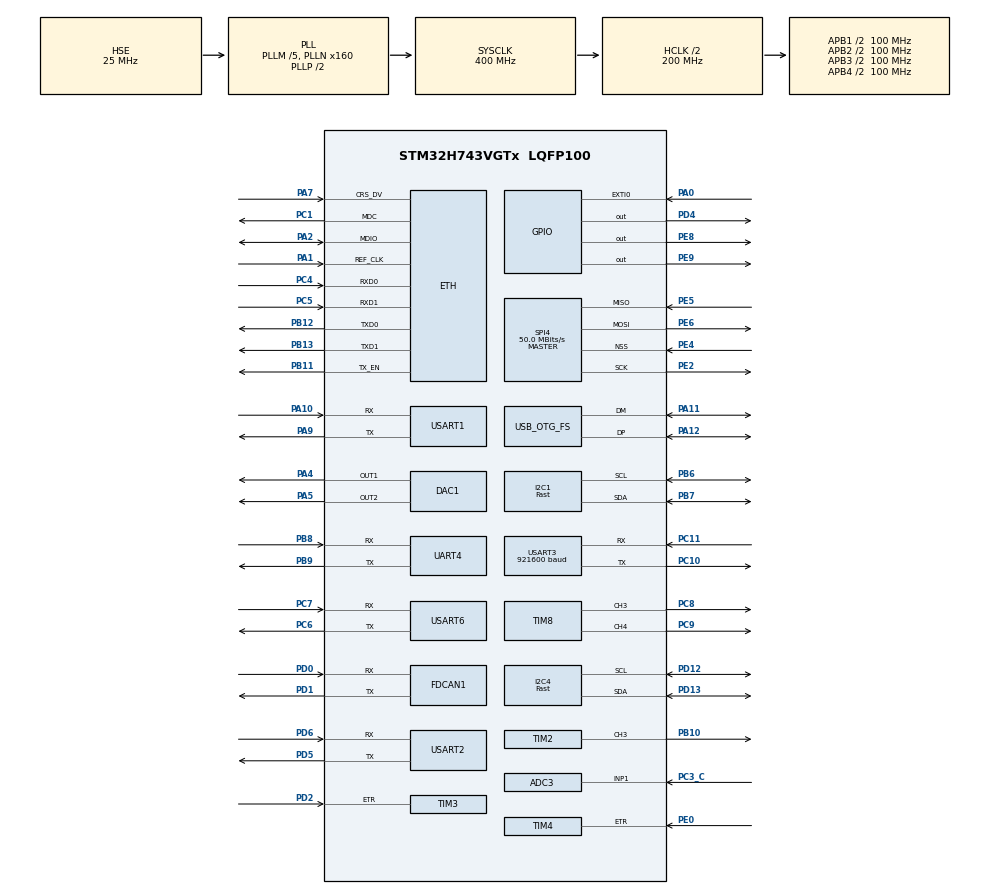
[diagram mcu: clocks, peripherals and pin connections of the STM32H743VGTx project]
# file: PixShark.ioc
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ADC3.Channel-0\#ChannelRegularConversion=ADC_CHANNEL_VREFINT
ADC3.Channel-1\#ChannelRegularConversion=ADC_CHANNEL_TEMPSENSOR
ADC3.Channel-2\#ChannelRegularConversion=ADC_CHANNEL_1
ADC3.ClockPrescalerADC3=ADC_CLOCK_ASYNC_DIV16
ADC3.ContinuousConvMode=ENABLE
ADC3.ConversionDataManagement=ADC_CONVERSIONDATA_DMA_CIRCULAR
ADC3.NbrOfConversion=3
ADC3.NbrOfConversionFlag=1
ADC3.OffsetNumber-0\#ChannelRegularConversion=ADC_OFFSET_NONE
ADC3.OffsetNumber-1\#ChannelRegularConversion=ADC_OFFSET_NONE
ADC3.OffsetNumber-2\#ChannelRegularConversion=ADC_OFFSET_NONE
ADC3.OffsetSignedSaturation-0\#ChannelRegularConversion=DISABLE
ADC3.OffsetSignedSaturation-1\#ChannelRegularConversion=DISABLE
ADC3.OffsetSignedSaturation-2\#ChannelRegularConversion=DISABLE
ADC3.Overrun=ADC_OVR_DATA_OVERWRITTEN
ADC3.Rank-0\#ChannelRegularConversion=1
ADC3.Rank-1\#ChannelRegularConversion=2
ADC3.Rank-2\#ChannelRegularConversion=3
ADC3.Resolution=ADC_RESOLUTION_16B
ADC3.SamplingTime-0\#ChannelRegularConversion=ADC_SAMPLETIME_810CYCLES_5
ADC3.SamplingTime-1\#ChannelRegularConversion=ADC_SAMPLETIME_810CYCLES_5
ADC3.SamplingTime-2\#ChannelRegularConversion=ADC_SAMPLETIME_810CYCLES_5
CORTEX_M7.AccessPermission-Cortex_Memory_Protection_Unit_Region0_Settings=MPU_REGION_FULL_ACCESS
CORTEX_M7.AccessPermission-Cortex_Memory_Protection_Unit_Region1_Settings=MPU_REGION_FULL_ACCESS
CORTEX_M7.BaseAddress-Cortex_Memory_Protection_Unit_Region0_Settings=0x30000000
CORTEX_M7.BaseAddress-Cortex_Memory_Protection_Unit_Region1_Settings=0x30004000
CORTEX_M7.CPU_DCache=Enabled
CORTEX_M7.CPU_ICache=Enabled
CORTEX_M7.Enable-Cortex_Memory_Protection_Unit_Region0_Settings=MPU_REGION_ENABLE
CORTEX_M7.Enable-Cortex_Memory_Protection_Unit_Region1_Settings=MPU_REGION_ENABLE
CORTEX_M7.IsBufferable-Cortex_Memory_Protection_Unit_Region0_Settings=MPU_ACCESS_BUFFERABLE
CORTEX_M7.IsCacheable-Cortex_Memory_Protection_Unit_Region1_Settings=MPU_ACCESS_CACHEABLE
CORTEX_M7.MPU_Control=MPU_PRIVILEGED_DEFAULT
CORTEX_M7.Size-Cortex_Memory_Protection_Unit_Region0_Settings=MPU_REGION_SIZE_1KB
CORTEX_M7.Size-Cortex_Memory_Protection_Unit_Region1_Settings=MPU_REGION_SIZE_16KB
DAC1.DAC_Channel-DAC_OUT1=DAC_CHANNEL_1
DAC1.DAC_Channel-DAC_OUT2=DAC_CHANNEL_2
Dma.ADC3.8.Direction=DMA_PERIPH_TO_MEMORY
Dma.ADC3.8.EventEnable=DISABLE
Dma.ADC3.8.FIFOMode=DMA_FIFOMODE_DISABLE
Dma.ADC3.8.Instance=DMA1_Stream1
Dma.ADC3.8.MemDataAlignment=DMA_MDATAALIGN_WORD
Dma.ADC3.8.MemInc=DMA_MINC_ENABLE
Dma.ADC3.8.Mode=DMA_CIRCULAR
Dma.ADC3.8.PeriphDataAlignment=DMA_PDATAALIGN_WORD
Dma.ADC3.8.PeriphInc=DMA_PINC_DISABLE
Dma.ADC3.8.Polarity=HAL_DMAMUX_REQ_GEN_RISING
Dma.ADC3.8.Priority=DMA_PRIORITY_LOW
Dma.ADC3.8.RequestNumber=1
Dma.ADC3.8.SignalID=NONE
Dma.ADC3.8.SyncEnable=DISABLE
Dma.ADC3.8.SyncPolarity=HAL_DMAMUX_SYNC_NO_EVENT
Dma.ADC3.8.SyncRequestNumber=1
Dma.ADC3.8.SyncSignalID=NONE
Dma.DAC1_CH1.10.Direction=DMA_MEMORY_TO_PERIPH
Dma.DAC1_CH1.10.EventEnable=DISABLE
Dma.DAC1_CH1.10.FIFOMode=DMA_FIFOMODE_DISABLE
Dma.DAC1_CH1.10.Instance=DMA1_Stream4
Dma.DAC1_CH1.10.MemDataAlignment=DMA_MDATAALIGN_BYTE
Dma.DAC1_CH1.10.MemInc=DMA_MINC_ENABLE
Dma.DAC1_CH1.10.Mode=DMA_NORMAL
Dma.DAC1_CH1.10.PeriphDataAlignment=DMA_PDATAALIGN_BYTE
Dma.DAC1_CH1.10.PeriphInc=DMA_PINC_DISABLE
Dma.DAC1_CH1.10.Polarity=HAL_DMAMUX_REQ_GEN_RISING
Dma.DAC1_CH1.10.Priority=DMA_PRIORITY_LOW
Dma.DAC1_CH1.10.RequestNumber=1
Dma.DAC1_CH1.10.SignalID=NONE
Dma.DAC1_CH1.10.SyncEnable=DISABLE
Dma.DAC1_CH1.10.SyncPolarity=HAL_DMAMUX_SYNC_NO_EVENT
Dma.DAC1_CH1.10.SyncRequestNumber=1
Dma.DAC1_CH1.10.SyncSignalID=NONE
Dma.DAC1_CH2.11.Direction=DMA_MEMORY_TO_PERIPH
Dma.DAC1_CH2.11.EventEnable=DISABLE
Dma.DAC1_CH2.11.FIFOMode=DMA_FIFOMODE_DISABLE
Dma.DAC1_CH2.11.Instance=DMA1_Stream5
Dma.DAC1_CH2.11.MemDataAlignment=DMA_MDATAALIGN_BYTE
Dma.DAC1_CH2.11.MemInc=DMA_MINC_ENABLE
Dma.DAC1_CH2.11.Mode=DMA_NORMAL
Dma.DAC1_CH2.11.PeriphDataAlignment=DMA_PDATAALIGN_BYTE
Dma.DAC1_CH2.11.PeriphInc=DMA_PINC_DISABLE
Dma.DAC1_CH2.11.Polarity=HAL_DMAMUX_REQ_GEN_RISING
Dma.DAC1_CH2.11.Priority=DMA_PRIORITY_LOW
Dma.DAC1_CH2.11.RequestNumber=1
Dma.DAC1_CH2.11.SignalID=NONE
Dma.DAC1_CH2.11.SyncEnable=DISABLE
Dma.DAC1_CH2.11.SyncPolarity=HAL_DMAMUX_SYNC_NO_EVENT
Dma.DAC1_CH2.11.SyncRequestNumber=1
Dma.DAC1_CH2.11.SyncSignalID=NONE
Dma.Request0=USART1_TX
Dma.Request1=USART2_TX
Dma.Request10=DAC1_CH1
Dma.Request11=DAC1_CH2
Dma.Request2=USART3_RX
Dma.Request3=USART3_TX
Dma.Request4=USART6_RX
Dma.Request5=USART6_TX
Dma.Request6=UART4_RX
Dma.Request7=UART4_TX
Dma.Request8=ADC3
Dma.Request9=USART1_RX
Dma.UART4_RX.6.Direction=DMA_PERIPH_TO_MEMORY
Dma.UART4_RX.6.EventEnable=DISABLE
Dma.UART4_RX.6.FIFOMode=DMA_FIFOMODE_DISABLE
Dma.UART4_RX.6.Instance=DMA1_Stream7
Dma.UART4_RX.6.MemDataAlignment=DMA_MDATAALIGN_BYTE
Dma.UART4_RX.6.MemInc=DMA_MINC_ENABLE
Dma.UART4_RX.6.Mode=DMA_NORMAL
Dma.UART4_RX.6.PeriphDataAlignment=DMA_PDATAALIGN_BYTE
Dma.UART4_RX.6.PeriphInc=DMA_PINC_DISABLE
Dma.UART4_RX.6.Polarity=HAL_DMAMUX_REQ_GEN_RISING
Dma.UART4_RX.6.Priority=DMA_PRIORITY_LOW
Dma.UART4_RX.6.RequestNumber=1
Dma.UART4_RX.6.SignalID=NONE
Dma.UART4_RX.6.SyncEnable=DISABLE
Dma.UART4_RX.6.SyncPolarity=HAL_DMAMUX_SYNC_NO_EVENT
Dma.UART4_RX.6.SyncRequestNumber=1
Dma.UART4_RX.6.SyncSignalID=NONE
Dma.UART4_TX.7.Direction=DMA_MEMORY_TO_PERIPH
Dma.UART4_TX.7.EventEnable=DISABLE
Dma.UART4_TX.7.FIFOMode=DMA_FIFOMODE_DISABLE
Dma.UART4_TX.7.Instance=DMA2_Stream0
Dma.UART4_TX.7.MemDataAlignment=DMA_MDATAALIGN_BYTE
Dma.UART4_TX.7.MemInc=DMA_MINC_ENABLE
Dma.UART4_TX.7.Mode=DMA_NORMAL
Dma.UART4_TX.7.PeriphDataAlignment=DMA_PDATAALIGN_BYTE
Dma.UART4_TX.7.PeriphInc=DMA_PINC_DISABLE
Dma.UART4_TX.7.Polarity=HAL_DMAMUX_REQ_GEN_RISING
Dma.UART4_TX.7.Priority=DMA_PRIORITY_LOW
Dma.UART4_TX.7.RequestNumber=1
Dma.UART4_TX.7.SignalID=NONE
Dma.UART4_TX.7.SyncEnable=DISABLE
Dma.UART4_TX.7.SyncPolarity=HAL_DMAMUX_SYNC_NO_EVENT
Dma.UART4_TX.7.SyncRequestNumber=1
Dma.UART4_TX.7.SyncSignalID=NONE
Dma.USART1_RX.9.Direction=DMA_PERIPH_TO_MEMORY
Dma.USART1_RX.9.EventEnable=DISABLE
Dma.USART1_RX.9.FIFOMode=DMA_FIFOMODE_DISABLE
Dma.USART1_RX.9.Instance=DMA1_Stream3
Dma.USART1_RX.9.MemDataAlignment=DMA_MDATAALIGN_BYTE
Dma.USART1_RX.9.MemInc=DMA_MINC_ENABLE
Dma.USART1_RX.9.Mode=DMA_NORMAL
Dma.USART1_RX.9.PeriphDataAlignment=DMA_PDATAALIGN_BYTE
Dma.USART1_RX.9.PeriphInc=DMA_PINC_DISABLE
Dma.USART1_RX.9.Polarity=HAL_DMAMUX_REQ_GEN_RISING
Dma.USART1_RX.9.Priority=DMA_PRIORITY_LOW
Dma.USART1_RX.9.RequestNumber=1
Dma.USART1_RX.9.SignalID=NONE
Dma.USART1_RX.9.SyncEnable=DISABLE
Dma.USART1_RX.9.SyncPolarity=HAL_DMAMUX_SYNC_NO_EVENT
Dma.USART1_RX.9.SyncRequestNumber=1
Dma.USART1_RX.9.SyncSignalID=NONE
Dma.USART1_TX.0.Direction=DMA_MEMORY_TO_PERIPH
Dma.USART1_TX.0.EventEnable=DISABLE
Dma.USART1_TX.0.FIFOMode=DMA_FIFOMODE_DISABLE
Dma.USART1_TX.0.Instance=DMA2_Stream7
Dma.USART1_TX.0.MemDataAlignment=DMA_MDATAALIGN_BYTE
Dma.USART1_TX.0.MemInc=DMA_MINC_ENABLE
Dma.USART1_TX.0.Mode=DMA_NORMAL
Dma.USART1_TX.0.PeriphDataAlignment=DMA_PDATAALIGN_BYTE
Dma.USART1_TX.0.PeriphInc=DMA_PINC_DISABLE
Dma.USART1_TX.0.Polarity=HAL_DMAMUX_REQ_GEN_RISING
Dma.USART1_TX.0.Priority=DMA_PRIORITY_LOW
Dma.USART1_TX.0.RequestNumber=1
Dma.USART1_TX.0.SignalID=NONE
Dma.USART1_TX.0.SyncEnable=DISABLE
Dma.USART1_TX.0.SyncPolarity=HAL_DMAMUX_SYNC_NO_EVENT
Dma.USART1_TX.0.SyncRequestNumber=1
Dma.USART1_TX.0.SyncSignalID=NONE
Dma.USART2_TX.1.Direction=DMA_MEMORY_TO_PERIPH
Dma.USART2_TX.1.EventEnable=DISABLE
Dma.USART2_TX.1.FIFOMode=DMA_FIFOMODE_DISABLE
Dma.USART2_TX.1.Instance=DMA1_Stream6
Dma.USART2_TX.1.MemDataAlignment=DMA_MDATAALIGN_BYTE
Dma.USART2_TX.1.MemInc=DMA_MINC_ENABLE
Dma.USART2_TX.1.Mode=DMA_NORMAL
Dma.USART2_TX.1.PeriphDataAlignment=DMA_PDATAALIGN_BYTE
Dma.USART2_TX.1.PeriphInc=DMA_PINC_DISABLE
Dma.USART2_TX.1.Polarity=HAL_DMAMUX_REQ_GEN_RISING
Dma.USART2_TX.1.Priority=DMA_PRIORITY_LOW
Dma.USART2_TX.1.RequestNumber=1
Dma.USART2_TX.1.SignalID=NONE
Dma.USART2_TX.1.SyncEnable=DISABLE
Dma.USART2_TX.1.SyncPolarity=HAL_DMAMUX_SYNC_NO_EVENT
Dma.USART2_TX.1.SyncRequestNumber=1
Dma.USART2_TX.1.SyncSignalID=NONE
Dma.USART3_RX.2.Direction=DMA_PERIPH_TO_MEMORY
Dma.USART3_RX.2.EventEnable=DISABLE
Dma.USART3_RX.2.FIFOMode=DMA_FIFOMODE_DISABLE
Dma.USART3_RX.2.Instance=DMA1_Stream2
Dma.USART3_RX.2.MemDataAlignment=DMA_MDATAALIGN_BYTE
Dma.USART3_RX.2.MemInc=DMA_MINC_ENABLE
Dma.USART3_RX.2.Mode=DMA_NORMAL
Dma.USART3_RX.2.PeriphDataAlignment=DMA_PDATAALIGN_BYTE
Dma.USART3_RX.2.PeriphInc=DMA_PINC_DISABLE
Dma.USART3_RX.2.Polarity=HAL_DMAMUX_REQ_GEN_RISING
Dma.USART3_RX.2.Priority=DMA_PRIORITY_LOW
Dma.USART3_RX.2.RequestNumber=1
Dma.USART3_RX.2.SignalID=NONE
Dma.USART3_RX.2.SyncEnable=DISABLE
Dma.USART3_RX.2.SyncPolarity=HAL_DMAMUX_SYNC_NO_EVENT
Dma.USART3_RX.2.SyncRequestNumber=1
Dma.USART3_RX.2.SyncSignalID=NONE
Dma.USART3_TX.3.Direction=DMA_MEMORY_TO_PERIPH
Dma.USART3_TX.3.EventEnable=DISABLE
Dma.USART3_TX.3.FIFOMode=DMA_FIFOMODE_DISABLE
Dma.USART3_TX.3.Instance=DMA1_Stream0
Dma.USART3_TX.3.MemDataAlignment=DMA_MDATAALIGN_BYTE
Dma.USART3_TX.3.MemInc=DMA_MINC_ENABLE
Dma.USART3_TX.3.Mode=DMA_NORMAL
Dma.USART3_TX.3.PeriphDataAlignment=DMA_PDATAALIGN_BYTE
Dma.USART3_TX.3.PeriphInc=DMA_PINC_DISABLE
Dma.USART3_TX.3.Polarity=HAL_DMAMUX_REQ_GEN_RISING
Dma.USART3_TX.3.Priority=DMA_PRIORITY_LOW
Dma.USART3_TX.3.RequestNumber=1
Dma.USART3_TX.3.SignalID=NONE
Dma.USART3_TX.3.SyncEnable=DISABLE
Dma.USART3_TX.3.SyncPolarity=HAL_DMAMUX_SYNC_NO_EVENT
Dma.USART3_TX.3.SyncRequestNumber=1
Dma.USART3_TX.3.SyncSignalID=NONE
Dma.USART6_RX.4.Direction=DMA_PERIPH_TO_MEMORY
Dma.USART6_RX.4.EventEnable=DISABLE
Dma.USART6_RX.4.FIFOMode=DMA_FIFOMODE_DISABLE
Dma.USART6_RX.4.Instance=DMA2_Stream1
Dma.USART6_RX.4.MemDataAlignment=DMA_MDATAALIGN_BYTE
Dma.USART6_RX.4.MemInc=DMA_MINC_ENABLE
Dma.USART6_RX.4.Mode=DMA_NORMAL
Dma.USART6_RX.4.PeriphDataAlignment=DMA_PDATAALIGN_BYTE
Dma.USART6_RX.4.PeriphInc=DMA_PINC_DISABLE
Dma.USART6_RX.4.Polarity=HAL_DMAMUX_REQ_GEN_RISING
Dma.USART6_RX.4.Priority=DMA_PRIORITY_LOW
Dma.USART6_RX.4.RequestNumber=1
Dma.USART6_RX.4.SignalID=NONE
Dma.USART6_RX.4.SyncEnable=DISABLE
Dma.USART6_RX.4.SyncPolarity=HAL_DMAMUX_SYNC_NO_EVENT
Dma.USART6_RX.4.SyncRequestNumber=1
Dma.USART6_RX.4.SyncSignalID=NONE
Dma.USART6_TX.5.Direction=DMA_MEMORY_TO_PERIPH
Dma.USART6_TX.5.EventEnable=DISABLE
Dma.USART6_TX.5.FIFOMode=DMA_FIFOMODE_DISABLE
Dma.USART6_TX.5.Instance=DMA2_Stream6
Dma.USART6_TX.5.MemDataAlignment=DMA_MDATAALIGN_BYTE
Dma.USART6_TX.5.MemInc=DMA_MINC_ENABLE
Dma.USART6_TX.5.Mode=DMA_NORMAL
Dma.USART6_TX.5.PeriphDataAlignment=DMA_PDATAALIGN_BYTE
Dma.USART6_TX.5.PeriphInc=DMA_PINC_DISABLE
Dma.USART6_TX.5.Polarity=HAL_DMAMUX_REQ_GEN_RISING
Dma.USART6_TX.5.Priority=DMA_PRIORITY_LOW
Dma.USART6_TX.5.RequestNumber=1
Dma.USART6_TX.5.SignalID=NONE
Dma.USART6_TX.5.SyncEnable=DISABLE
Dma.USART6_TX.5.SyncPolarity=HAL_DMAMUX_SYNC_NO_EVENT
Dma.USART6_TX.5.SyncRequestNumber=1
Dma.USART6_TX.5.SyncSignalID=NONE
ETH.MediaInterface=HAL_ETH_RMII_MODE
FDCAN1.CalculateBaudRateNominal=1000000
FDCAN1.CalculateTimeBitNominal=1000
FDCAN1.CalculateTimeQuantumNominal=25.0
FDCAN1.NominalPrescaler=2
FDCAN1.NominalTimeSeg1=31
FDCAN1.NominalTimeSeg2=8
FDCAN1.RxFifo0ElmtsNbr=32
FDCAN1.TxFifoQueueElmtsNbr=32
FREERTOS.INCLUDE_xQueueGetMutexHolder=1
FREERTOS.INCLUDE_xSemaphoreGetMutexHolder=1
FREERTOS.Tasks01=defaultTask,24,4096,StartDefaultTask,Default,NULL,Dynamic,NULL,NULL
FREERTOS.Timers01=watchdog_timer,feeddog_callback,osTimerPeriodic,Default,NULL,Dynamic,NULL
FREERTOS.configENABLE_FPU=1
FREERTOS.configTOTAL_HEAP_SIZE=65536
FREERTOS.configUSE_NEWLIB_REENTRANT=1
FREERTOS.configUSE_TICKLESS_IDLE=1
I2C1.I2C_Speed_Mode=I2C_Fast
I2C1.Timing=0x009034B6
I2C4.I2C_Speed_Mode=I2C_Fast
I2C4.Timing=0x009034B6
IWDG1.Prescaler=IWDG_PRESCALER_64
IWDG1.Reload=2000
LWIP.BSP.number=1
LWIP.GATEWAY_ADDRESS=192.168.001.001
LWIP.IP_ADDRESS=192.168.001.030
LWIP.LWIP_DHCP=0
LWIP.LWIP_SO_RCVTIMEO=1
LWIP.LWIP_UDP=1
LWIP.MEMP_NUM_SYS_TIMEOUT=13
LWIP.MEMP_NUM_TCP_SEG=32
LWIP.NETMASK_ADDRESS=255.255.255.000
LWIP.PBUF_POOL_BUFSIZE=4096
LWIP.TCP_SND_BUF=4096
LWIP.Version=v2.1.2_Cube
LWIP0.BSP.STBoard=false
LWIP0.BSP.api=BSP_COMPONENT_DRIVER
LWIP0.BSP.component=LAN8742
LWIP0.BSP.instance=LAN8742
LWIP0.BSP.name=Driver_PHY
LWIP0.BSP.semaphore=S_LAN8742
LWIP0.BSP.solution=LAN8742
Mcu.Family=STM32H7
Mcu.Name=STM32H743VGTx
Mcu.Package=LQFP100
NVIC.DMA1_Stream0_IRQn=true\:5\:0\:false\:false\:true\:true\:false\:true\:true
NVIC.DMA1_Stream1_IRQn=true\:5\:0\:false\:false\:true\:true\:false\:true\:true
NVIC.DMA1_Stream2_IRQn=true\:5\:0\:false\:false\:true\:true\:false\:true\:true
NVIC.DMA1_Stream3_IRQn=true\:5\:0\:false\:false\:true\:true\:false\:true\:true
NVIC.DMA1_Stream4_IRQn=true\:5\:0\:false\:false\:true\:true\:false\:true\:true
NVIC.DMA1_Stream5_IRQn=true\:5\:0\:false\:false\:true\:true\:false\:true\:true
NVIC.DMA1_Stream6_IRQn=true\:5\:0\:false\:false\:true\:true\:false\:true\:true
NVIC.DMA1_Stream7_IRQn=true\:5\:0\:false\:false\:true\:true\:false\:true\:true
NVIC.DMA2_Stream0_IRQn=true\:5\:0\:false\:false\:true\:true\:false\:true\:true
NVIC.DMA2_Stream1_IRQn=true\:5\:0\:false\:false\:true\:true\:false\:true\:true
NVIC.DMA2_Stream6_IRQn=true\:5\:0\:false\:false\:true\:true\:false\:true\:true
NVIC.DMA2_Stream7_IRQn=true\:5\:0\:false\:false\:true\:true\:false\:true\:true
NVIC.ETH_IRQn=true\:5\:0\:false\:false\:true\:true\:true\:true\:true
NVIC.FDCAN1_IT0_IRQn=true\:5\:0\:false\:false\:true\:true\:true\:true\:true
NVIC.OTG_FS_IRQn=true\:5\:0\:false\:false\:true\:true\:false\:true\:true
NVIC.PriorityGroup=NVIC_PRIORITYGROUP_4
NVIC.TIM1_UP_IRQn=true\:5\:0\:true\:false\:true\:false\:false\:true\:true
NVIC.TimeBase=TIM1_UP_IRQn
NVIC.TimeBaseIP=TIM1
NVIC.UART4_IRQn=true\:5\:0\:false\:false\:true\:true\:true\:true\:true
NVIC.USART1_IRQn=true\:5\:0\:false\:false\:true\:true\:true\:true\:true
NVIC.USART3_IRQn=true\:5\:0\:false\:false\:true\:true\:true\:true\:true
NVIC.USART6_IRQn=true\:5\:0\:false\:false\:true\:true\:true\:true\:true
PA0.Signal=GPXTI0
PA1.GPIO_Speed=GPIO_SPEED_FREQ_VERY_HIGH
PA1.Mode=RMII
PA1.Signal=ETH_REF_CLK
PA10.Mode=Asynchronous
PA10.Signal=USART1_RX
PA11.Mode=Device_Only
PA11.Signal=USB_OTG_FS_DM
PA12.Mode=Device_Only
PA12.Signal=USB_OTG_FS_DP
PA13\ (JTMS/SWDIO).Mode=Serial_Wire
PA13\ (JTMS/SWDIO).Signal=DEBUG_JTMS-SWDIO
PA14\ (JTCK/SWCLK).Mode=Serial_Wire
PA14\ (JTCK/SWCLK).Signal=DEBUG_JTCK-SWCLK
PA2.GPIO_Speed=GPIO_SPEED_FREQ_VERY_HIGH
PA2.Mode=RMII
PA2.Signal=ETH_MDIO
PA4.Signal=COMP_DAC11_group
PA5.Signal=COMP_DAC12_group
PA7.GPIO_Speed=GPIO_SPEED_FREQ_VERY_HIGH
PA7.Mode=RMII
PA7.Signal=ETH_CRS_DV
PA9.Mode=Asynchronous
PA9.Signal=USART1_TX
PB10.Signal=S_TIM2_CH3
PB11.GPIO_Speed=GPIO_SPEED_FREQ_VERY_HIGH
PB11.Mode=RMII
PB11.Signal=ETH_TX_EN
PB12.GPIO_Speed=GPIO_SPEED_FREQ_VERY_HIGH
PB12.Mode=RMII
PB12.Signal=ETH_TXD0
PB13.GPIO_Speed=GPIO_SPEED_FREQ_VERY_HIGH
PB13.Mode=RMII
PB13.Signal=ETH_TXD1
PB6.Mode=I2C
PB6.Signal=I2C1_SCL
PB7.Mode=I2C
PB7.Signal=I2C1_SDA
PB8.Mode=Asynchronous
PB8.Signal=UART4_RX
PB9.Mode=Asynchronous
PB9.Signal=UART4_TX
PC1.GPIO_Speed=GPIO_SPEED_FREQ_VERY_HIGH
PC1.Mode=RMII
PC1.Signal=ETH_MDC
PC10.Mode=Asynchronous
PC10.Signal=USART3_TX
PC11.Mode=Asynchronous
PC11.Signal=USART3_RX
PC3_C.Mode=IN1-Single-Ended
PC3_C.Signal=ADC3_INP1
PC4.GPIO_Speed=GPIO_SPEED_FREQ_VERY_HIGH
PC4.Mode=RMII
PC4.Signal=ETH_RXD0
PC5.GPIO_Speed=GPIO_SPEED_FREQ_VERY_HIGH
PC5.Mode=RMII
PC5.Signal=ETH_RXD1
PC6.Mode=Asynchronous
PC6.Signal=USART6_TX
PC7.Mode=Asynchronous
PC7.Signal=USART6_RX
PC8.Signal=S_TIM8_CH3
PC9.Signal=S_TIM8_CH4
PD0.Mode=FDCAN_Activate
PD0.Signal=FDCAN1_RX
PD1.Mode=FDCAN_Activate
PD1.Signal=FDCAN1_TX
PD12.Mode=I2C
PD12.Signal=I2C4_SCL
PD13.Mode=I2C
PD13.Signal=I2C4_SDA
PD2.Signal=S_TIM3_ETR
PD4.Signal=GPIO_Output
PD5.Mode=Asynchronous
PD5.Signal=USART2_TX
PD6.Mode=Asynchronous
PD6.Signal=USART2_RX
PE0.Signal=S_TIM4_ETR
PE2.Mode=Full_Duplex_Master
PE2.Signal=SPI4_SCK
PE4.Mode=NSS_Signal_Hard_Input
PE4.Signal=SPI4_NSS
PE5.Mode=Full_Duplex_Master
PE5.Signal=SPI4_MISO
PE6.Mode=Full_Duplex_Master
PE6.Signal=SPI4_MOSI
PE8.Signal=GPIO_Output
PE9.Signal=GPIO_Output
PH0-OSC_IN\ (PH0).Mode=HSE-External-Oscillator
PH0-OSC_IN\ (PH0).Signal=RCC_OSC_IN
PH1-OSC_OUT\ (PH1).Mode=HSE-External-Oscillator
PH1-OSC_OUT\ (PH1).Signal=RCC_OSC_OUT
ProjectManager.HeapSize=0x1000
ProjectManager.StackSize=0x2000
ProjectManager.TargetToolchain=STM32CubeIDE
RCC.ADCFreq_Value=72000000
RCC.APB1Freq_Value=100000000
RCC.APB2Freq_Value=100000000
RCC.APB3Freq_Value=100000000
RCC.APB4Freq_Value=100000000
RCC.CortexFreq_Value=400000000
RCC.D1PPRE=RCC_APB3_DIV2
RCC.D2PPRE1=RCC_APB1_DIV2
RCC.D2PPRE2=RCC_APB2_DIV2
RCC.D3PPRE=RCC_APB4_DIV2
RCC.DIVM1=5
RCC.DIVM2=25
RCC.DIVM3=25
RCC.DIVN1=160
RCC.DIVN2=504
RCC.DIVN3=336
RCC.DIVP2=7
RCC.DIVQ1=10
RCC.DIVQ2=7
RCC.DIVQ3=7
RCC.EnbaleCSS=false
RCC.HCLKFreq_Value=200000000
RCC.HPRE=RCC_HCLK_DIV2
RCC.PLL2FRACN=0
RCC.PLL3FRACN=0
RCC.PLLFRACN=0
RCC.PLLSourceVirtual=RCC_PLLSOURCE_HSE
RCC.PWR_Regulator_Voltage_Scale=PWR_REGULATOR_VOLTAGE_SCALE0
RCC.ProductRev=revV
RCC.SYSCLKFreq_VALUE=400000000
RCC.SYSCLKSource=RCC_SYSCLKSOURCE_PLLCLK
RCC.Tim1Mul=1
RCC.USBCLockSelection=RCC_USBCLKSOURCE_PLL3
RCC.USBFreq_Value=48000000
SH.COMP_DAC11_group.0=DAC1_OUT1,DAC_OUT1
SH.COMP_DAC12_group.0=DAC1_OUT2,DAC_OUT2
SH.S_TIM2_CH3.0=TIM2_CH3,PWM Generation3 CH3
SH.S_TIM3_ETR.0=TIM3_ETR,ClockSourceETR_Mode2
SH.S_TIM4_ETR.0=TIM4_ETR,ClockSourceETR_Mode2
SH.S_TIM8_CH3.0=TIM8_CH3,PWM Generation3 CH3
SH.S_TIM8_CH4.0=TIM8_CH4,PWM Generation4 CH4
SPI4.CalculateBaudRate=50.0 MBits/s
SPI4.Direction=SPI_DIRECTION_2LINES
SPI4.Mode=SPI_MODE_MASTER
SPI4.VirtualNSS=VM_NSSHARD
SPI4.VirtualType=VM_MASTER
TIM2.Channel-PWM\ Generation3\ CH3=TIM_CHANNEL_3
TIM2.Period=65535
TIM8.Channel-PWM\ Generation3\ CH3=TIM_CHANNEL_3
TIM8.Channel-PWM\ Generation4\ CH4=TIM_CHANNEL_4
USART1.VirtualMode-Asynchronous=VM_ASYNC
USART2.VirtualMode-Asynchronous=VM_ASYNC
USART3.BaudRate=921600
USART3.SwapParam=ADVFEATURE_SWAP_DISABLE
USART3.VirtualMode-Asynchronous=VM_ASYNC
USART6.VirtualMode=VM_ASYNC
USB_DEVICE.CLASS_NAME_FS=CDC
USB_DEVICE.VirtualMode-CDC_FS=Cdc
USB_DEVICE.VirtualModeFS=Cdc_FS
USB_OTG_FS.VirtualMode=Device_Only
VP_ADC3_TempSens_Input.Mode=IN-TempSens
VP_ADC3_Vref_Input.Mode=IN-Vrefint
VP_FREERTOS_VS_CMSIS_V2.Mode=CMSIS_V2
VP_IWDG1_VS_IWDG.Mode=IWDG_Activate
VP_LWIP_VS_Enabled.Mode=Enabled
VP_SYS_VS_tim1.Mode=TIM1
VP_TIM2_VS_ClockSourceINT.Mode=Internal
VP_TIM8_VS_ClockSourceINT.Mode=Internal
VP_USB_DEVICE_VS_USB_DEVICE_CDC_FS.Mode=CDC_FS
board=custom

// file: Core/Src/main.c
/* USER CODE BEGIN Header */
/**
  ******************************************************************************
  * @file           : main.c
  * @brief          : Main program body
  ******************************************************************************
  * @attention
  *
  * Copyright (c) 2023 STMicroelectronics.
  * All rights reserved.
  *
  * This software is licensed under terms that can be found in the LICENSE file
  * in the root directory of this software component.
  * If no LICENSE file comes with this software, it is provided AS-IS.
  *
  ******************************************************************************
  */
/* USER CODE END Header */
#include "main.h"
#include "cmsis_os.h"
#include "adc.h"
#include "dac.h"
#include "dma.h"
#include "fdcan.h"
#include "i2c.h"
#include "iwdg.h"
#include "lwip.h"
#include "spi.h"
#include "tim.h"
#include "usart.h"
#include "usb_device.h"
#include "gpio.h"

void SystemClock_Config(void);
static void MPU_Config(void);
void MX_FREERTOS_Init(void);

int main(void)
{

  /* MPU Configuration--------------------------------------------------------*/
  MPU_Config();

  /* Enable I-Cache---------------------------------------------------------*/
  SCB_EnableICache();

  /* Enable D-Cache---------------------------------------------------------*/
  SCB_EnableDCache();

  /* MCU Configuration--------------------------------------------------------*/

  /* Reset of all peripherals, Initializes the Flash interface and the Systick. */
  HAL_Init();

  /* USER CODE BEGIN Init */
  SCB->CACR|=1<<2;   //�?坯D-Cache逝写
  /* USER CODE END Init */

  /* Configure the system clock */
  SystemClock_Config();

  /* USER CODE BEGIN SysInit */
  HAL_Delay(1000);//延时1s，等待网坡初始化
  /* USER CODE END SysInit */

  /* Initialize all configured peripherals */
  MX_GPIO_Init();
  MX_DMA_Init();
  MX_I2C1_Init();
  MX_SPI4_Init();
  MX_UART4_Init();
  MX_USART1_UART_Init();
  MX_USART2_UART_Init();
  MX_USART3_UART_Init();
  MX_USART6_UART_Init();
  MX_ADC3_Init();
  MX_I2C4_Init();
  MX_TIM2_Init();
  MX_TIM3_Init();
  MX_TIM8_Init();
  MX_DAC1_Init();
  MX_TIM4_Init();
  MX_FDCAN1_Init();
  MX_IWDG1_Init();

  /* Init scheduler */
  osKernelInitialize();  /* Call init function for freertos objects (in freertos.c) */
  MX_FREERTOS_Init();

  /* Start scheduler */
  osKernelStart();
  /* We should never get here as control is now taken by the scheduler */
  /* Infinite loop */
  while (1)
  {

  }
}

void SystemClock_Config(void)
{
  RCC_OscInitTypeDef RCC_OscInitStruct = {0};
  RCC_ClkInitTypeDef RCC_ClkInitStruct = {0};

  /** Supply configuration update enable
  */
  HAL_PWREx_ConfigSupply(PWR_LDO_SUPPLY);

  /** Configure the main internal regulator output voltage
  */
  __HAL_PWR_VOLTAGESCALING_CONFIG(PWR_REGULATOR_VOLTAGE_SCALE1);

  while(!__HAL_PWR_GET_FLAG(PWR_FLAG_VOSRDY)) {}

  __HAL_RCC_SYSCFG_CLK_ENABLE();
  __HAL_PWR_VOLTAGESCALING_CONFIG(PWR_REGULATOR_VOLTAGE_SCALE0);

  while(!__HAL_PWR_GET_FLAG(PWR_FLAG_VOSRDY)) {}

  /** Initializes the RCC Oscillators according to the specified parameters
  * in the RCC_OscInitTypeDef structure.
  */
  RCC_OscInitStruct.OscillatorType = RCC_OSCILLATORTYPE_LSI|RCC_OSCILLATORTYPE_HSE;
  RCC_OscInitStruct.HSEState = RCC_HSE_ON;
  RCC_OscInitStruct.LSIState = RCC_LSI_ON;
  RCC_OscInitStruct.PLL.PLLState = RCC_PLL_ON;
  RCC_OscInitStruct.PLL.PLLSource = RCC_PLLSOURCE_HSE;
  RCC_OscInitStruct.PLL.PLLM = 5;
  RCC_OscInitStruct.PLL.PLLN = 160;
  RCC_OscInitStruct.PLL.PLLP = 2;
  RCC_OscInitStruct.PLL.PLLQ = 10;
  RCC_OscInitStruct.PLL.PLLR = 2;
  RCC_OscInitStruct.PLL.PLLRGE = RCC_PLL1VCIRANGE_2;
  RCC_OscInitStruct.PLL.PLLVCOSEL = RCC_PLL1VCOWIDE;
  RCC_OscInitStruct.PLL.PLLFRACN = 0;
  if (HAL_RCC_OscConfig(&RCC_OscInitStruct) != HAL_OK)
  {
    Error_Handler();
  }

  /** Initializes the CPU, AHB and APB buses clocks
  */
  RCC_ClkInitStruct.ClockType = RCC_CLOCKTYPE_HCLK|RCC_CLOCKTYPE_SYSCLK
                              |RCC_CLOCKTYPE_PCLK1|RCC_CLOCKTYPE_PCLK2
                              |RCC_CLOCKTYPE_D3PCLK1|RCC_CLOCKTYPE_D1PCLK1;
  RCC_ClkInitStruct.SYSCLKSource = RCC_SYSCLKSOURCE_PLLCLK;
  RCC_ClkInitStruct.SYSCLKDivider = RCC_SYSCLK_DIV1;
  RCC_ClkInitStruct.AHBCLKDivider = RCC_HCLK_DIV2;
  RCC_ClkInitStruct.APB3CLKDivider = RCC_APB3_DIV2;
  RCC_ClkInitStruct.APB1CLKDivider = RCC_APB1_DIV2;
  RCC_ClkInitStruct.APB2CLKDivider = RCC_APB2_DIV2;
  RCC_ClkInitStruct.APB4CLKDivider = RCC_APB4_DIV2;

  if (HAL_RCC_ClockConfig(&RCC_ClkInitStruct, FLASH_LATENCY_2) != HAL_OK)
  {
    Error_Handler();
  }
}

/* USER CODE BEGIN 4 */
void OnTimerCallback(TIM_TypeDef *timInstance);
/* USER CODE END 4 */

/* MPU Configuration */

void MPU_Config(void)
{
  MPU_Region_InitTypeDef MPU_InitStruct = {0};

  /* Disables the MPU */
  HAL_MPU_Disable();

  /** Initializes and configures the Region and the memory to be protected
  */
  MPU_InitStruct.Enable = MPU_REGION_ENABLE;
  MPU_InitStruct.Number = MPU_REGION_NUMBER0;
  MPU_InitStruct.BaseAddress = 0x30000000;
  MPU_InitStruct.Size = MPU_REGION_SIZE_1KB;
  MPU_InitStruct.SubRegionDisable = 0x0;
  MPU_InitStruct.TypeExtField = MPU_TEX_LEVEL0;
  MPU_InitStruct.AccessPermission = MPU_REGION_FULL_ACCESS;
  MPU_InitStruct.DisableExec = MPU_INSTRUCTION_ACCESS_ENABLE;
  MPU_InitStruct.IsShareable = MPU_ACCESS_NOT_SHAREABLE;
  MPU_InitStruct.IsCacheable = MPU_ACCESS_NOT_CACHEABLE;
  MPU_InitStruct.IsBufferable = MPU_ACCESS_BUFFERABLE;

  HAL_MPU_ConfigRegion(&MPU_InitStruct);

  /** Initializes and configures the Region and the memory to be protected
  */
  MPU_InitStruct.Number = MPU_REGION_NUMBER1;
  MPU_InitStruct.BaseAddress = 0x30004000;
  MPU_InitStruct.Size = MPU_REGION_SIZE_16KB;
  MPU_InitStruct.IsCacheable = MPU_ACCESS_CACHEABLE;
  MPU_InitStruct.IsBufferable = MPU_ACCESS_NOT_BUFFERABLE;

  HAL_MPU_ConfigRegion(&MPU_InitStruct);
  /* Enables the MPU */
  HAL_MPU_Enable(MPU_PRIVILEGED_DEFAULT);

}

void HAL_TIM_PeriodElapsedCallback(TIM_HandleTypeDef *htim)
{
  if (htim->Instance == TIM1) {
    HAL_IncTick();
  }
  /* USER CODE BEGIN Callback 1 */
  else
  {
    OnTimerCallback(htim->Instance);
  }
  /* USER CODE END Callback 1 */
}

void Error_Handler(void)
{
  __disable_irq();
  while (1)
  {
  }
}

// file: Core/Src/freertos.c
/* USER CODE BEGIN Header */
/**
  ******************************************************************************
  * File Name          : freertos.c
  * Description        : Code for freertos applications
  ******************************************************************************
  * @attention
  *
  * Copyright (c) 2023 STMicroelectronics.
  * All rights reserved.
  *
  * This software is licensed under terms that can be found in the LICENSE file
  * in the root directory of this software component.
  * If no LICENSE file comes with this software, it is provided AS-IS.
  *
  ******************************************************************************
  */
/* USER CODE END Header */

#include "FreeRTOS.h"
#include "task.h"
#include "main.h"
#include "cmsis_os.h"

/* USER CODE BEGIN Includes */
#include "iwdg.h"
#include "common_inc.h"
/* USER CODE END Includes */

/* USER CODE BEGIN PD */
bool cubemx_transport_open(struct uxrCustomTransport * transport);
bool cubemx_transport_close(struct uxrCustomTransport * transport);
size_t cubemx_transport_write(struct uxrCustomTransport* transport, const uint8_t * buf, size_t len, uint8_t * err);
size_t cubemx_transport_read(struct uxrCustomTransport* transport, uint8_t* buf, size_t len, int timeout, uint8_t* err);
/* USER CODE END PD */

/* USER CODE BEGIN Variables */
void * microros_allocate(size_t size, void * state);
void microros_deallocate(void * pointer, void * state);
void * microros_reallocate(void * pointer, size_t size, void * state);
void * microros_zero_allocate(size_t number_of_elements, size_t size_of_element, void * state);
/* USER CODE END Variables */
/* Definitions for defaultTask */
osThreadId_t defaultTaskHandle;
const osThreadAttr_t defaultTask_attributes = {
  .name = "defaultTask",
  .stack_size = 4096 * 4,
  .priority = (osPriority_t) osPriorityNormal,
};
/* Definitions for watchdog_timer */
osTimerId_t watchdog_timerHandle;
const osTimerAttr_t watchdog_timer_attributes = {
  .name = "watchdog_timer"
};

void StartDefaultTask(void *argument);
void feeddog_callback(void *argument);

extern void MX_USB_DEVICE_Init(void);
extern void MX_LWIP_Init(void);
void MX_FREERTOS_Init(void); /* (MISRA C 2004 rule 8.1) */

/* USER CODE BEGIN PREPOSTSLEEP */
__weak void PreSleepProcessing(uint32_t ulExpectedIdleTime)
{
/* place for user code */
}

__weak void PostSleepProcessing(uint32_t ulExpectedIdleTime)
{
/* place for user code */
}
/* USER CODE END PREPOSTSLEEP */

void MX_FREERTOS_Init(void) {

  /* Create the timer(s) */
  /* creation of watchdog_timer */
  watchdog_timerHandle = osTimerNew(feeddog_callback, osTimerPeriodic, NULL, &watchdog_timer_attributes);

  /* Create the thread(s) */
  /* creation of defaultTask */
  defaultTaskHandle = osThreadNew(StartDefaultTask, NULL, &defaultTask_attributes);

}

void StartDefaultTask(void *argument)
{
  /* init code for USB_DEVICE */
  MX_USB_DEVICE_Init();

  /* init code for LWIP */
  MX_LWIP_Init();
  /* USER CODE BEGIN StartDefaultTask */
  /*Start watchdog timer*/
  osTimerStart(watchdog_timerHandle, 1000);
  // micro-ROS configuration
  rmw_uros_set_custom_transport(
    false,  //Framing disable here. Udp should Use Packet-oriented mode.
    "192.168.1.121",  //your agent's ip address
    cubemx_transport_open,
    cubemx_transport_close,
    cubemx_transport_write,
    cubemx_transport_read);

  rcl_allocator_t freeRTOS_allocator = rcutils_get_zero_initialized_allocator();
  freeRTOS_allocator.allocate = microros_allocate;
  freeRTOS_allocator.deallocate = microros_deallocate;
  freeRTOS_allocator.reallocate = microros_reallocate;
  freeRTOS_allocator.zero_allocate =  microros_zero_allocate;

  if (!rcutils_set_default_allocator(&freeRTOS_allocator)) {
      printf("Error on default allocators (line %d)\n", __LINE__);
  }

  // Invoke cpp-version main().
  Main();

  vTaskDelete(defaultTaskHandle);
  /* USER CODE END StartDefaultTask */
}

/* feeddog_callback function */
void feeddog_callback(void *argument)
{
  /* USER CODE BEGIN feeddog_callback */
  //喂狗
  HAL_IWDG_Refresh(&hiwdg1);
  /* USER CODE END feeddog_callback */
}
